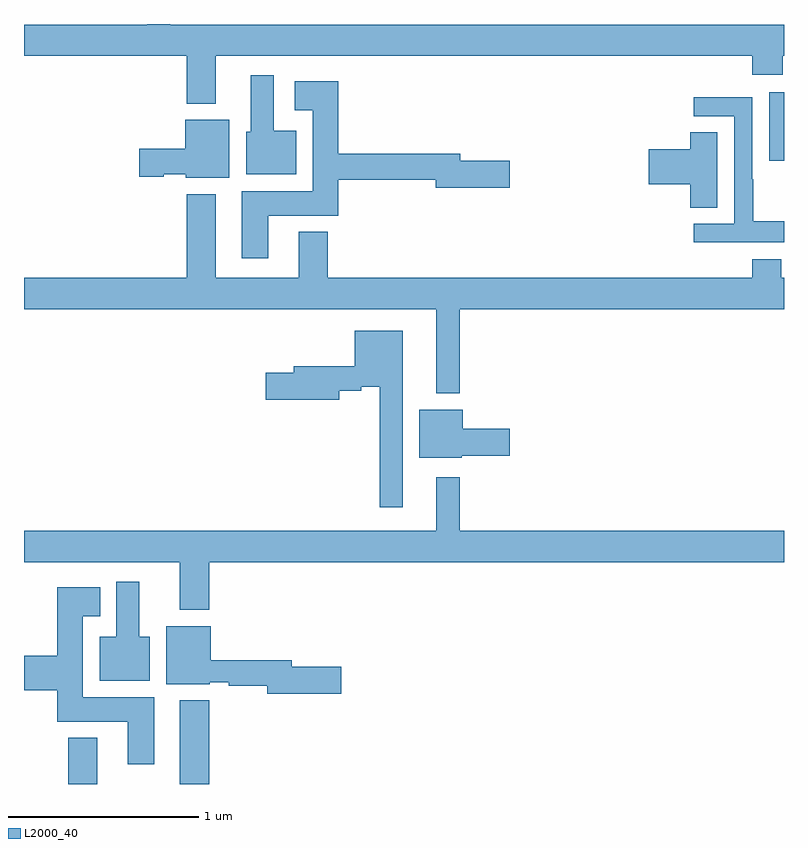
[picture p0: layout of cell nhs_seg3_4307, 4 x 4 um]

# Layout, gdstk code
import gdstk
lib = gdstk.Library(unit=1e-6, precision=1e-09)
def R(c, l, rs):  # rectangles x0, y0, x1, y1
    for r in rs: c.add(gdstk.rectangle(r[:2], r[2:], *l))
def P(c, l, *ps):  # polygons
    for p in ps: c.add(gdstk.Polygon(p, *l))
L2000_40 = (2000, 40)

nhs_seg3_4307 = lib.new_cell('nhs_seg3_4307')
R(nhs_seg3_4307, L2000_40, [(339.233,714.4,339.385,714.643), (339.821,714.4,339.974,714.841), (342.923,717.681,343,718.042)])
P(nhs_seg3_4307, L2000_40, [(340.009,718.232),(342.833,718.232),(342.833,718.133),(342.993,718.133),(342.993,718.232),(343,718.232),(343,718.396),(339.769,718.396),(339.769,718.4),(339.648,718.4),(339.648,718.396),(339,718.396),(339,718.232),(339.857,718.232),(339.857,717.98),(340.009,717.98)],
  [(340.432,717.838),(340.315,717.838),(340.315,718.129),(340.193,718.129),(340.193,717.834),(340.169,717.834),(340.169,717.608),(340.432,717.608)],
  [(340.285,717.392),(340.655,717.392),(340.655,717.58),(341.168,717.58),(341.168,717.538),(341.557,717.538),(341.557,717.68),(341.296,717.68),(341.296,717.716),(340.655,717.716),(340.655,718.099),(340.425,718.099),(340.425,717.947),(340.52,717.947),(340.52,717.52),(340.145,717.52),(340.145,717.168),(340.285,717.168)],
  [(343,717.361),(342.837,717.361),(342.837,717.584),(342.834,717.584),(342.834,718.014),(342.525,718.014),(342.525,717.915),(342.738,717.915),(342.738,717.348),(342.525,717.348),(342.525,717.252),(343,717.252)],
  [(340.081,717.895),(339.848,717.895),(339.848,717.743),(339.606,717.743),(339.606,717.596),(339.735,717.596),(339.735,717.608),(339.852,717.608),(339.852,717.59),(340.081,717.59)],
  [(342.649,717.83),(342.506,717.83),(342.506,717.74),(342.288,717.74),(342.288,717.557),(342.506,717.557),(342.506,717.433),(342.649,717.433)],
  [(341.293,716.9),(343,716.9),(343,717.064),(342.985,717.064),(342.985,717.163),(342.833,717.163),(342.833,717.064),(340.598,717.064),(340.598,717.307),(340.445,717.307),(340.445,717.064),(340.009,717.064),(340.009,717.505),(339.857,717.505),(339.857,717.064),(339,717.064),(339,716.9),(341.171,716.9),(341.171,716.456),(341.293,716.456)],
  [(340.993,716.785),(340.742,716.785),(340.742,716.599),(340.421,716.599),(340.421,716.565),(340.272,716.565),(340.272,716.423),(340.66,716.423),(340.66,716.47),(340.775,716.47),(340.775,716.49),(340.872,716.49),(340.872,715.857),(340.993,715.857)],
  [(341.304,716.128),(341.557,716.128),(341.557,716.27),(341.308,716.27),(341.308,716.371),(341.081,716.371),(341.081,716.117),(341.304,716.117)],
  [(339.974,715.568),(343,715.568),(343,715.732),(341.293,715.732),(341.293,716.014),(341.171,716.014),(341.171,715.732),(339,715.732),(339,715.568),(339.821,715.568),(339.821,715.316),(339.974,715.316)],
  [(339.661,715.174),(339.607,715.174),(339.607,715.465),(339.485,715.465),(339.485,715.174),(339.398,715.174),(339.398,714.944),(339.661,714.944)],
  [(339.685,714.856),(339.31,714.856),(339.31,715.283),(339.4,715.283),(339.4,715.435),(339.176,715.435),(339.176,715.076),(339,715.076),(339,714.893),(339.176,714.893),(339.176,714.728),(339.545,714.728),(339.545,714.504),(339.685,714.504)],
  [(340.669,715.016),(340.408,715.016),(340.408,715.052),(339.982,715.052),(339.982,715.231),(339.749,715.231),(339.749,714.926),(339.978,714.926),(339.978,714.936),(340.078,714.936),(340.078,714.916),(340.28,714.916),(340.28,714.874),(340.669,714.874)])

lib.write_gds('nhs_seg3_4307.gds')
